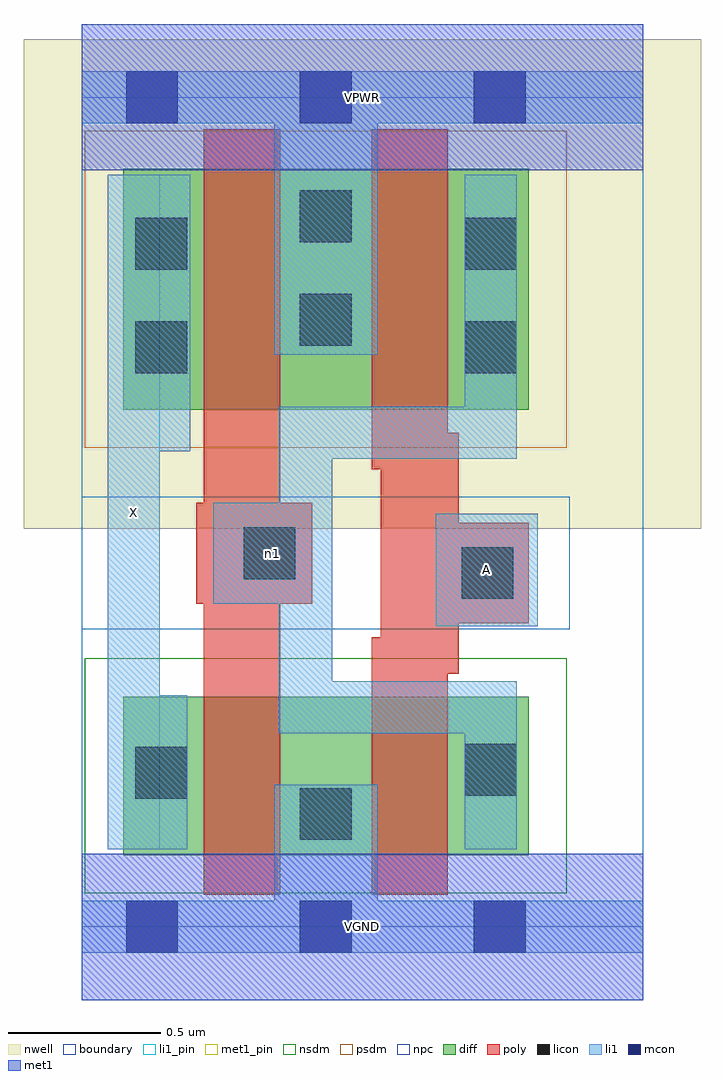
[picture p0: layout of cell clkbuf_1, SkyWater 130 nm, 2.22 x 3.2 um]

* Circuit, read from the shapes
.subckt clkbuf_1 A VGND VPWR X n1
XM1 VGND n1 X VSUBS sky130_fd_pr__nfet_01v8 w=0.52 l=0.25
XM2 n1 A VGND VSUBS sky130_fd_pr__nfet_01v8 w=0.52 l=0.25
XM3 VPWR n1 X n2 sky130_fd_pr__pfet_01v8 w=0.79 l=0.25
XM4 n1 A VPWR n2 sky130_fd_pr__pfet_01v8 w=0.79 l=0.25
.ends

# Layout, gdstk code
import gdstk
lib = gdstk.Library(unit=1e-6, precision=1e-09)
def R(c, l, rs):  # rectangles x0, y0, x1, y1
    for r in rs: c.add(gdstk.rectangle(r[:2], r[2:], *l))
def A(c, l, x, y, w, h, nx, ny, dx, dy):  # array of equal rectangles
    R(c, l, [(x+i*dx, y+j*dy, x+i*dx+w, y+j*dy+h) for i in range(nx) for j in range(ny)])
nwell = (64, 20)
diff = (65, 20)
poly = (66, 20)
licon = (66, 44)
li1_pin = (67, 16)
li1 = (67, 20)
mcon = (67, 44)
met1_pin = (68, 16)
met1 = (68, 20)
nsdm = (93, 44)
psdm = (94, 20)
npc = (95, 20)
boundary = (235, 4)

clkbuf_1 = lib.new_cell('clkbuf_1')
R(clkbuf_1, nwell, [(-0.19,1.305,2.03,2.91), (0,1.305,1.84,2.91)])
R(clkbuf_1, diff, [(0.135,0.235,1.465,0.755), (0.135,1.695,1.465,2.485)])
R(clkbuf_1, poly, [(0.4,0.105,0.65,2.615), (0.95,0.105,1.2,0.95), (0.98,0.83,1.235,1.62), (0.98,0.995,1.465,1.325), (0.375,1.06,0.755,1.39), (0.95,1.5,1.2,2.615)])
R(clkbuf_1, licon, [(0.715,0.285,0.885,0.455), (0.175,0.42,0.345,0.59), (1.255,0.43,1.425,0.6), (1.245,1.075,1.415,1.245), (0.53,1.14,0.7,1.31), (0.175,1.815,0.345,1.985), (1.255,1.815,1.425,1.985), (0.715,1.905,0.885,2.075), (0.175,2.155,0.345,2.325), (1.255,2.155,1.425,2.325), (0.715,2.245,0.885,2.415)])
R(clkbuf_1, li1_pin, [(0.085,0.255,0.255,2.465), (1.16,0.985,1.495,1.355)])
R(clkbuf_1, li1, [(0,-0.085,1.84,0.085), (0.63,-0.085,0.97,0.465), (0.085,0.255,0.255,2.465), (0.085,0.255,0.345,0.76), (1.255,0.255,1.425,0.805), (0.645,0.635,0.82,1.705), (0.645,0.635,1.425,0.805), (1.16,0.985,1.495,1.355), (0.43,1.06,0.82,1.39), (0.645,1.535,1.425,1.705), (1.255,1.535,1.425,2.465), (0.085,1.56,0.355,2.465), (0.63,1.875,0.97,2.805), (0,2.635,1.84,2.805)])
A(clkbuf_1, mcon, 0.145, -0.085, 0.17, 0.17, 3, 2, 0.57, 2.72)
R(clkbuf_1, met1_pin, [(0,-0.24,1.84,0.24), (0,2.48,1.84,2.96)])
R(clkbuf_1, met1, [(0,-0.24,1.84,0.24), (0,2.48,1.84,2.96)])
R(clkbuf_1, nsdm, [(0.01,0.11,1.59,0.88)])
R(clkbuf_1, psdm, [(0.01,1.57,1.59,2.61)])
R(clkbuf_1, npc, [(0,0.975,1.6,1.41)])
R(clkbuf_1, boundary, [(0,0,1.84,2.72)])
clkbuf_1.add(gdstk.Label('A', (1.327,1.17), layer=67, texttype=5))
clkbuf_1.add(gdstk.Label('X', (0.17,1.36), layer=67, texttype=5))
clkbuf_1.add(gdstk.Label('n1', (0.625,1.225), layer=67, texttype=5))
clkbuf_1.add(gdstk.Label('VPWR', (0.92,2.72), layer=68, texttype=5))
clkbuf_1.add(gdstk.Label('VGND', (0.92,0), layer=68, texttype=5))
clkbuf_1.add(gdstk.Label('A', (1.327,1.17), layer=67, texttype=16))
clkbuf_1.add(gdstk.Label('X', (0.17,1.36), layer=67, texttype=16))
clkbuf_1.add(gdstk.Label('VPWR', (0.92,2.72), layer=68, texttype=16))
clkbuf_1.add(gdstk.Label('VGND', (0.92,0), layer=68, texttype=16))

lib.write_gds('clkbuf_1.gds')
